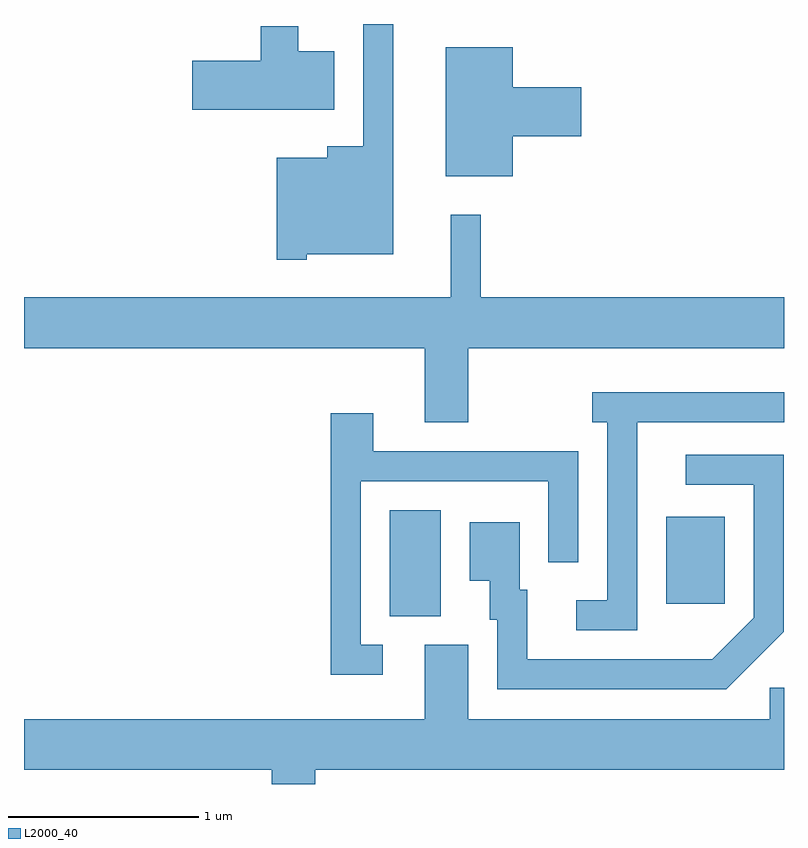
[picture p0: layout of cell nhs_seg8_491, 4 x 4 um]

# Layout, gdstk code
import gdstk
lib = gdstk.Library(unit=1e-6, precision=1e-09)
def R(c, l, rs):  # rectangles x0, y0, x1, y1
    for r in rs: c.add(gdstk.rectangle(r[:2], r[2:], *l))
def P(c, l, *ps):  # polygons
    for p in ps: c.add(gdstk.Polygon(p, *l))
L2000_40 = (2000, 40)

nhs_seg8_491 = lib.new_cell('nhs_seg8_491')
R(nhs_seg8_491, L2000_40, [(201.536,1837.226,201.804,1837.784), (202.991,1837.291,203.299,1837.749)])
P(nhs_seg8_491, L2000_40, [(201.099,1839.131),(201.554,1839.131),(201.554,1840.342),(201.396,1840.342),(201.396,1839.699),(201.206,1839.699),(201.206,1839.639),(200.941,1839.639),(200.941,1839.101),(201.099,1839.101)],
  [(201.244,1840.199),(201.054,1840.199),(201.054,1840.329),(200.856,1840.329),(200.856,1840.149),(200.496,1840.149),(200.496,1839.891),(201.244,1839.891)],
  [(202.184,1839.751),(202.544,1839.751),(202.544,1840.009),(202.184,1840.009),(202.184,1840.219),(201.831,1840.219),(201.831,1839.541),(202.184,1839.541)],
  [(201.949,1838.636),(203.611,1838.636),(203.611,1838.904),(202.014,1838.904),(202.014,1839.338),(201.856,1839.338),(201.856,1838.904),(199.611,1838.904),(199.611,1838.636),(201.721,1838.636),(201.721,1838.246),(201.949,1838.246)],
  [(202.839,1838.246),(203.611,1838.246),(203.611,1838.404),(202.603,1838.404),(202.603,1838.246),(202.681,1838.246),(202.681,1837.309),(202.518,1837.309),(202.518,1837.151),(202.839,1837.151)],
  [(201.498,1837.074),(201.384,1837.074),(201.384,1837.936),(202.371,1837.936),(202.371,1837.508),(202.529,1837.508),(202.529,1838.094),(201.449,1838.094),(201.449,1838.294),(201.226,1838.294),(201.226,1836.916),(201.498,1836.916)],
  [(203.609,1837.144),(203.609,1838.074),(203.093,1838.074),(203.093,1837.916),(203.451,1837.916),(203.451,1837.217),(203.234,1836.999),(202.259,1836.999),(202.259,1837.364),(202.219,1837.364),(202.219,1837.719),(201.956,1837.719),(201.956,1837.411),(202.061,1837.411),(202.061,1837.206),(202.101,1837.206),(202.101,1836.841),(203.307,1836.841)],
  [(201.144,1836.416),(203.611,1836.416),(203.611,1836.849),(203.536,1836.849),(203.536,1836.684),(201.949,1836.684),(201.949,1837.074),(201.721,1837.074),(201.721,1836.684),(199.611,1836.684),(199.611,1836.416),(200.916,1836.416),(200.916,1836.342),(201.144,1836.342)])

lib.write_gds('nhs_seg8_491.gds')
